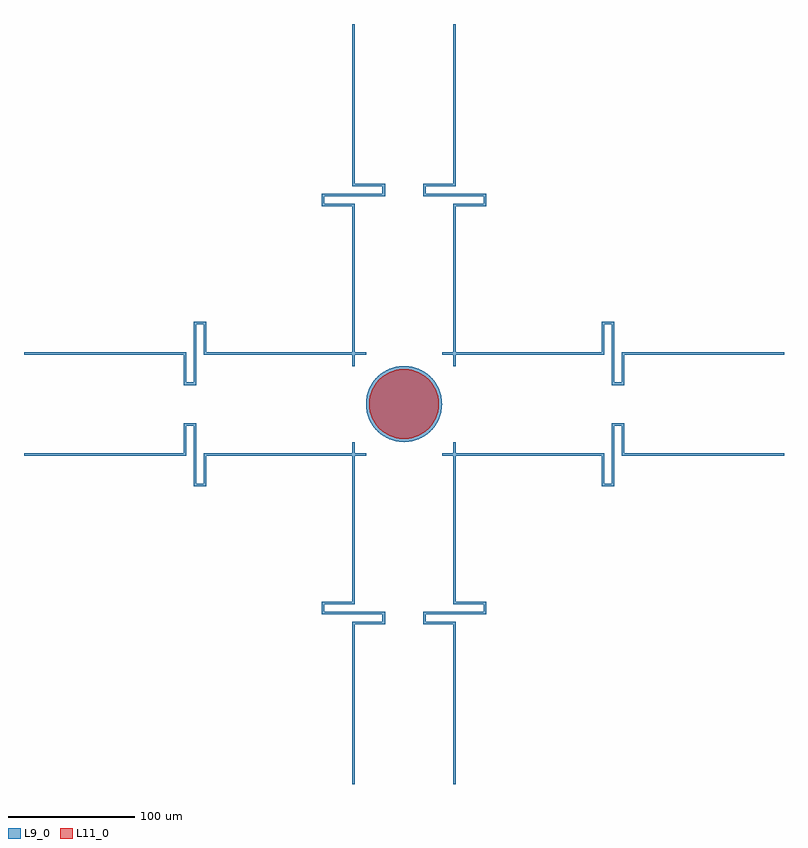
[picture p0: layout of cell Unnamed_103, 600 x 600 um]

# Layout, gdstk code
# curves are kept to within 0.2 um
from math import pi, radians
import gdstk
lib = gdstk.Library(unit=1e-6, precision=1e-09)
def R(c, l, rs):  # rectangles x0, y0, x1, y1
    for r in rs: c.add(gdstk.rectangle(r[:2], r[2:], *l))
def P(c, l, *ps):  # polygons
    for p in ps: c.add(gdstk.Polygon(p, *l))
L9_0 = (9, 0)
L11_0 = (11, 0)

rectangle_s50_2_l9_0_cf_ = lib.new_cell('rectangle_S50_2_L9_0_CF_7b202ac9')
R(rectangle_s50_2_l9_0_cf_, L9_0, [(0,0,50,2)])

rectangle_s2_6_l9_0_cfa_ = lib.new_cell('rectangle_S2_6_L9_0_CFa_6e69fcce')
R(rectangle_s2_6_l9_0_cfa_, L9_0, [(0,0,2,6)])

rectangle_s26_2_l9_0_cf_ = lib.new_cell('rectangle_S26_2_L9_0_CF_7241b5a4')
R(rectangle_s26_2_l9_0_cf_, L9_0, [(0,0,26,2)])

rectangle_s2_126_l9_0_c_ = lib.new_cell('rectangle_S2_126_L9_0_C_b187a1dd')
R(rectangle_s2_126_l9_0_c_, L9_0, [(0,0,2,126)])

unnamed_104 = lib.new_cell('Unnamed_104')
unnamed_104.add(gdstk.Reference(rectangle_s50_2_l9_0_cf_, (-24,134)))
unnamed_104.add(gdstk.Reference(rectangle_s2_6_l9_0_cfa_, (24,128)))
unnamed_104.add(gdstk.Reference(rectangle_s2_6_l9_0_cfa_, (-24,136)))
unnamed_104.add(gdstk.Reference(rectangle_s26_2_l9_0_cf_, (0,126)))
unnamed_104.add(gdstk.Reference(rectangle_s26_2_l9_0_cf_, (-24,142)))
unnamed_104.add(gdstk.Reference(rectangle_s2_126_l9_0_c_, (0,0)))
unnamed_104.add(gdstk.Reference(rectangle_s2_126_l9_0_c_, (0,144)))

unnamed_105 = lib.new_cell('Unnamed_105')
unnamed_105.add(gdstk.Reference(unnamed_104, (41,-300), rotation=pi, x_reflection=True))
unnamed_105.add(gdstk.Reference(unnamed_104, (-41,-300)))

circle_r27p5_ar2p5_l11_0 = lib.new_cell('circle_R27p5_AR2p5_L11_0')
P(circle_r27p5_ar2p5_l11_0, L11_0, [(0,-27.5),(-5.952,-26.848),(-10.524,-25.407),(-15.773,-22.527),(-19.445,-19.445),(-22.527,-15.773),(-25.407,-10.524),(-26.848,-5.952),(-27.5,0),(-26.848,5.952),(-25.407,10.524),(-22.527,15.773),(-19.445,19.445),(-15.773,22.527),(-10.524,25.407),(-5.952,26.848),(0,27.5),(5.952,26.848),(10.524,25.407),(15.773,22.527),(19.445,19.445),(22.527,15.773),(25.407,10.524),(26.848,5.952),(27.5,0),(26.848,-5.952),(25.407,-10.524),(22.527,-15.773),(19.445,-19.445),(15.773,-22.527),(10.524,-25.407),(5.952,-26.848)])

circle_r30_ar2p5_l9_0 = lib.new_cell('circle_R30_AR2p5_L9_0')
P(circle_r30_ar2p5_l9_0, L9_0, [(0,-30),(-6.493,-29.289),(-11.481,-27.716),(-17.207,-24.575),(-21.213,-21.213),(-24.575,-17.207),(-27.716,-11.481),(-29.289,-6.493),(-30,0),(-29.289,6.493),(-27.716,11.481),(-24.575,17.207),(-21.213,21.213),(-17.207,24.575),(-11.481,27.716),(-6.493,29.289),(0,30),(6.493,29.289),(11.481,27.716),(17.207,24.575),(21.213,21.213),(24.575,17.207),(27.716,11.481),(29.289,6.493),(30,0),(29.289,-6.493),(27.716,-11.481),(24.575,-17.207),(21.213,-21.213),(17.207,-24.575),(11.481,-27.716),(6.493,-29.289)])

unnamed_103 = lib.new_cell('Unnamed_103')
unnamed_103.add(gdstk.Reference(unnamed_105, (0,0), x_reflection=True))
unnamed_103.add(gdstk.Reference(circle_r27p5_ar2p5_l11_0, (0,0)))
unnamed_103.add(gdstk.Reference(unnamed_105, (0,0), rotation=pi/2))
unnamed_103.add(gdstk.Reference(circle_r30_ar2p5_l9_0, (0,0)))
unnamed_103.add(gdstk.Reference(unnamed_105, (0,0), rotation=3*pi/2))
unnamed_103.add(gdstk.Reference(unnamed_105, (0,0)))

lib.write_gds('Unnamed_103.gds')
